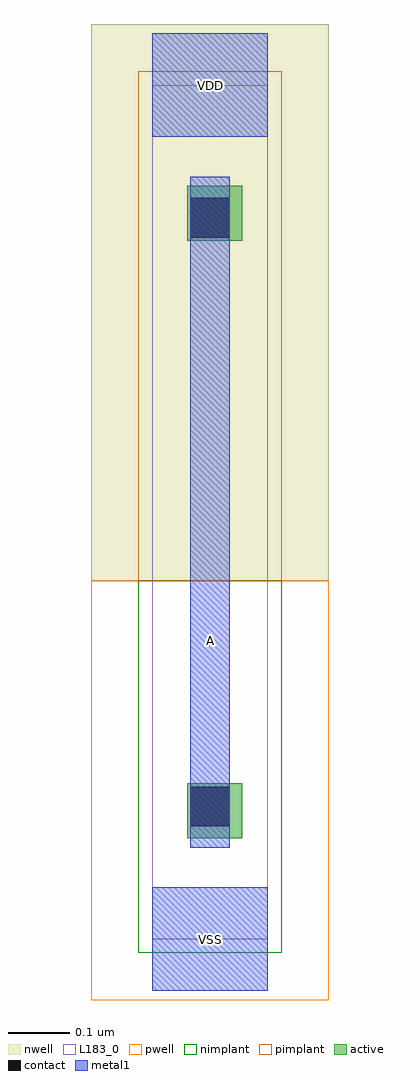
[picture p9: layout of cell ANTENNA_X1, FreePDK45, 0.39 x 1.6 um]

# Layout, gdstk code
import gdstk
lib = gdstk.Library(unit=1e-6, precision=1e-10)
def R(c, l, rs):  # rectangles x0, y0, x1, y1
    for r in rs: c.add(gdstk.rectangle(r[:2], r[2:], *l))
active = (1, 0)
pwell = (2, 0)
nwell = (3, 0)
nimplant = (4, 0)
pimplant = (5, 0)
contact = (10, 0)
metal1 = (11, 0)
L183_0 = (183, 0)

antenna_x1 = lib.new_cell('ANTENNA_X1')
R(antenna_x1, active, [(0.0575,0.165,0.1475,0.255), (0.0575,1.145,0.1475,1.235)])
R(antenna_x1, pwell, [(-0.1,-0.1,0.29,0.5875)])
R(antenna_x1, nwell, [(-0.1,0.5875,0.29,1.5)])
R(antenna_x1, nimplant, [(-0.0225,-0.0225,0.2125,0.5875)])
R(antenna_x1, pimplant, [(-0.0225,0.5875,0.2125,1.4225)])
R(antenna_x1, contact, [(0.0625,0.185,0.1275,0.25), (0.0625,1.15,0.1275,1.215)])
R(antenna_x1, metal1, [(0,-0.085,0.19,0.085), (0.0625,0.15,0.1275,1.25), (0,1.315,0.19,1.485)])
R(antenna_x1, L183_0, [(0,0,0.19,1.4)])
antenna_x1.add(gdstk.Label('A', (0.095,0.49), layer=11, texttype=0))
antenna_x1.add(gdstk.Label('VDD', (0.095,1.4), layer=11, texttype=0))
antenna_x1.add(gdstk.Label('VSS', (0.095,0), layer=11, texttype=0))

lib.write_gds('ANTENNA_X1.gds')
